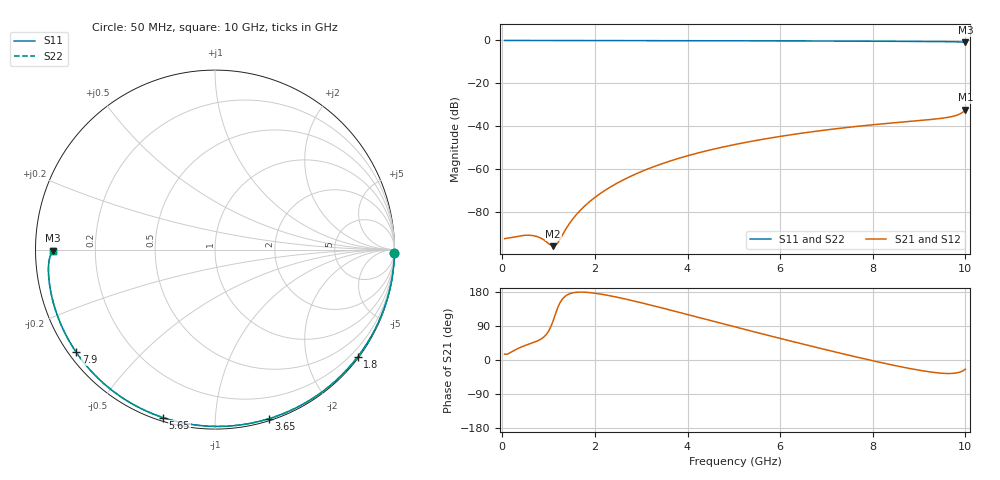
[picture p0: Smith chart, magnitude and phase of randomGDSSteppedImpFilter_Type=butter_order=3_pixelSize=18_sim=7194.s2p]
! freq	dB(S11)	phase(S11)	dB(S12)	phase(S12)
!  dB(S21)	phase(S21)	dB(S22)	phase(S22)
!S-par simulation data
#  GHz  S  DB  R 50
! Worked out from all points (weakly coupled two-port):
!   200 points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, 50 MHz to 10 GHz, reference 50 ohm
!   highest |S21| = -32.20 dB at 10 GHz (marker M1); lowest = -95.7 dB at 1.1 GHz (marker M2)
!   lowest |S11| = -0.9 dB at 10 GHz (marker M3), VSWR 19.36, Z = 2.58 - j0.185 ohm
!   |S11| at or under -10 dB: nowhere
!   |S22| runs from -0.9 to 0.0 dB; largest |S21 - S12| = 0
!   S11 on the Smith chart (normalised r, x): 50 MHz: open; 1.8 GHz: 0.03, -3.00; 3.65 GHz: 0.02, -1.37; 5.65 GHz: 0.02, -0.74; 7.9 GHz: 0.02, -0.33; 10 GHz: 0.05, -0.00
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0.05  -0.00 -1.0  -92.22 15.4  -92.22 15.4  -0.00 -1.0
0.55  -0.01 -11.4  -90.63 40.9  -90.63 40.9  -0.01 -11.4
1.1  -0.03 -22.7  -95.72 104.0  -95.72 104.0  -0.03 -22.7
1.65  -0.04 -33.9  -79.82 179.1  -79.82 179.1  -0.04 -33.8
1.75  -0.05 -35.9  -77.63 179.1  -77.63 179.1  -0.05 -35.8
1.8  -0.05 -36.9  -76.62 178.8  -76.62 178.8  -0.05 -36.8
2.1  -0.05 -42.8  -71.46 174.4  -71.46 174.4  -0.05 -42.8
2.5  -0.07 -50.6  -66.16 165.1  -66.16 165.1  -0.06 -50.6
2.9  -0.08 -58.3  -61.96 154.0  -61.96 154.0  -0.08 -58.3
3.4  -0.09 -67.7  -57.72 138.9  -57.72 138.9  -0.09 -67.6
3.65  -0.10 -72.3  -55.92 131.1  -55.92 131.1  -0.10 -72.2
4.35  -0.12 -84.9  -51.67 108.8  -51.67 108.8  -0.12 -84.8
5.05  -0.15 -97.0  -48.29 86.6  -48.29 86.6  -0.15 -97.0
5.65  -0.18 -107.1  -45.89 67.8  -45.89 67.8  -0.18 -107.1
6.7  -0.24 -124.3  -42.45 35.7  -42.45 35.7  -0.24 -124.2
7.9  -0.34 -143.5  -39.44 0.8  -39.44 0.8  -0.34 -143.4
8.35  -0.38 -150.7  -38.52 -11.4  -38.52 -11.4  -0.38 -150.6
9.05  -0.46 -162.1  -37.19 -28.0  -37.19 -28.0  -0.46 -162.0
9.65  -0.57 -172.5  -35.67 -35.7  -35.67 -35.7  -0.57 -172.4
9.85  -0.67 -176.4  -34.50 -33.0  -34.50 -33.0  -0.67 -176.3
9.95  -0.79 -178.5  -33.26 -28.3  -33.26 -28.3  -0.79 -178.4
10  -0.90 -179.6  -32.20 -24.3  -32.20 -24.3  -0.90 -179.5
